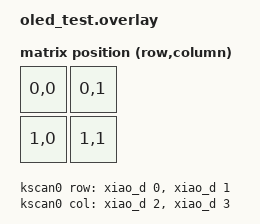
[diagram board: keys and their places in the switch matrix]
/*
 * Copyright (c) 2024 The ZMK Contributors
 * SPDX-License-Identifier: MIT
 */

#include <dt-bindings/zmk/matrix_transform.h>

/ {
    chosen {
        zmk,kscan = &kscan0;
        zmk,matrix-transform = &default_transform;
        zephyr,display = &oled;
    };

    default_transform: keymap_transform_0 {
        compatible = "zmk,matrix-transform";
        columns = <2>;
        rows = <2>;
        map = <
            RC(0,0) RC(0,1)
            RC(1,0) RC(1,1)
        >;
    };

    kscan0: kscan {
        compatible = "zmk,kscan-gpio-matrix";
        wakeup-source;
        diode-direction = "col2row";

        row-gpios
            = <&xiao_d 0 (GPIO_ACTIVE_HIGH | GPIO_PULL_DOWN)>
            , <&xiao_d 1 (GPIO_ACTIVE_HIGH | GPIO_PULL_DOWN)>
            ;
        col-gpios
            = <&xiao_d 2 GPIO_ACTIVE_HIGH>
            , <&xiao_d 3 GPIO_ACTIVE_HIGH>
            ;
    };
};

&xiao_i2c {
    status = "okay";

    oled: ssd1306@3c {
        compatible = "solomon,ssd1306fb";
        reg = <0x3c>;
        width = <128>;
        height = <32>;
        segment-offset = <0>;
        page-offset = <0>;
        display-offset = <0>;
        multiplex-ratio = <31>;
        segment-remap;
        com-inverted;
        prechargep = <0x22>;
    };
};
